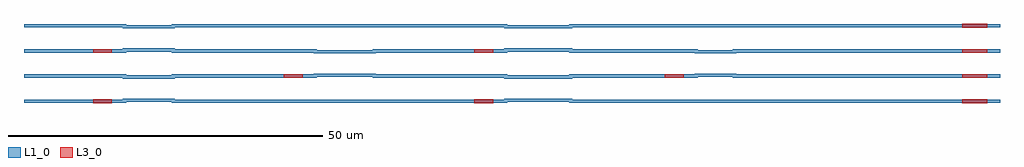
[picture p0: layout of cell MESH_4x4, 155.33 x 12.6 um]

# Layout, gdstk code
import gdstk
lib = gdstk.Library(unit=1e-6, precision=1e-09)
def R(c, l, rs):  # rectangles x0, y0, x1, y1
    for r in rs: c.add(gdstk.rectangle(r[:2], r[2:], *l))
def A(c, l, x, y, w, h, nx, ny, dx, dy):  # array of equal rectangles
    R(c, l, [(x+i*dx, y+j*dy, x+i*dx+w, y+j*dy+h) for i in range(nx) for j in range(ny)])
L1_0 = (1, 0)
L3_0 = (3, 0)

mesh_4x4 = lib.new_cell('MESH_4x4')
A(mesh_4x4, L3_0, 149.333, -0.3, 4, 0.6, 1, 4, 0, 4)
R(mesh_4x4, L3_0, [(11,-0.3,14,0.3), (71.667,-0.3,74.667,0.3), (41.333,3.7,44.333,4.3), (102,3.7,105,4.3), (11,7.7,14,8.3), (71.667,7.7,74.667,8.3)])
mesh_4x4.add(gdstk.FlexPath([(0,0),(16,0),(16,0.15),(23.75,0.15),(23.75,0),(29.75,0),(76.667,0),(76.667,0.15),(87,0.15),(87,0),(93,0),(155.333,0)], 0.5, ends="flush", simple_path=True, layer=1, datatype=0))  # L1_0
mesh_4x4.add(gdstk.FlexPath([(0,4),(16,4),(16,3.85),(23.75,3.85),(23.75,4),(29.75,4),(46.333,4),(46.333,4.15),(55.76,4.15),(55.76,4),(61.76,4),(76.667,4),(76.667,3.85),(87,3.85),(87,4),(93,4),(107,4),(107,4.15),(113.073,4.15),(113.073,4),(119.073,4),(155.333,4)], 0.5, ends="flush", simple_path=True, layer=1, datatype=0))  # L1_0
mesh_4x4.add(gdstk.FlexPath([(0,8),(16,8),(16,8.15),(23.75,8.15),(23.75,8),(29.75,8),(46.333,8),(46.333,7.85),(55.76,7.85),(55.76,8),(61.76,8),(76.667,8),(76.667,8.15),(87,8.15),(87,8),(93,8),(107,8),(107,7.85),(113.073,7.85),(113.073,8),(119.073,8),(155.333,8)], 0.5, ends="flush", simple_path=True, layer=1, datatype=0))  # L1_0
mesh_4x4.add(gdstk.FlexPath([(0,12),(16,12),(16,11.85),(23.75,11.85),(23.75,12),(29.75,12),(76.667,12),(76.667,11.85),(87,11.85),(87,12),(93,12),(155.333,12)], 0.5, ends="flush", simple_path=True, layer=1, datatype=0))  # L1_0

lib.write_gds('MESH_4x4.gds')
